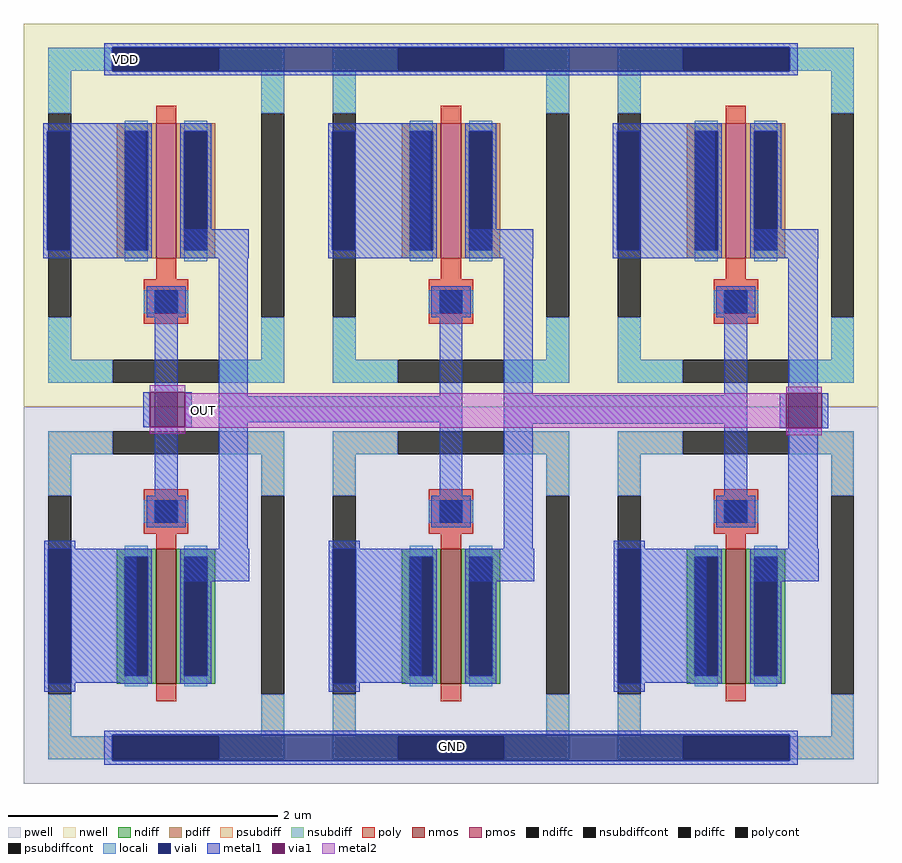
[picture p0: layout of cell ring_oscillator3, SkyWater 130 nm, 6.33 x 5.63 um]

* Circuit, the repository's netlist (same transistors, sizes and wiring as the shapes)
** sch_path: /home/deboradmk/iinverter/ring_oscillator3.sch
.subckt ring_oscillator3 vdd out gnd
*.PININFO vdd:B out:O gnd:B
x1 vdd net1 net2 gnd iinverter
x2 vdd net2 out gnd iinverter
x3 vdd out net1 gnd iinverter
.ends

* expanding   symbol:  iinverter.sym # of pins=4
** sym_path: /home/deboradmk/iinverter/iinverter.sym
** sch_path: /home/deboradmk/iinverter/iinverter.sch
.subckt iinverter vvdd in out vgnd
*.PININFO vvdd:I in:I vgnd:I out:O
XM3 out in vgnd vgnd sky130_fd_pr__nfet_01v8 L=0.15 W=1 nf=1 m=1
XM2 out in vvdd vvdd sky130_fd_pr__pfet_01v8 L=0.15 W=1 nf=1 m=1
.ends

.end

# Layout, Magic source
magic
tech sky130A
magscale 1 2
<< viali >>
rect 131 1055 1135 1091
rect 131 34 1135 72
<< metal1 >>
rect 119 1091 1147 1097
rect 119 1055 131 1091
rect 1135 1055 1147 1091
rect 119 1049 1147 1055
rect 177 528 187 580
rect 239 528 249 580
rect 314 535 637 574
rect 728 533 1056 575
rect 1120 526 1130 578
rect 1182 526 1192 578
rect 119 72 1147 78
rect 119 34 131 72
rect 1135 34 1147 72
rect 119 28 1147 34
<< via1 >>
rect 187 528 239 580
rect 1130 526 1182 578
<< metal2 >>
rect 187 580 239 590
rect 1130 578 1182 588
rect 239 528 1130 578
rect 187 527 1130 528
rect 187 518 239 527
rect 1130 516 1182 526
use iinverter  x1
transform 1 0 53 0 1 -9
box -53 9 369 1135
use iinverter  x2
transform 1 0 475 0 1 -9
box -53 9 369 1135
use iinverter  x3
transform 1 0 897 0 1 -9
box -53 9 369 1135
<< labels >>
flabel metal2 267 553 267 553 0 FreeSans 320 0 0 0 OUT
port 2 nsew
flabel viali 635 55 635 55 0 FreeSans 320 0 0 0 GND
port 4 nsew
flabel viali 151 1072 151 1072 0 FreeSans 320 0 0 0 VDD
port 6 nsew
<< end >>

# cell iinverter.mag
magic
tech sky130A
magscale 1 2
<< viali >>
rect -18 799 16 975
rect -17 157 17 357
<< metal1 >>
rect -24 975 127 987
rect -24 799 -18 975
rect 16 799 127 975
rect -24 787 127 799
rect 181 787 280 830
rect 141 395 175 740
rect -23 357 23 369
rect 236 357 279 787
rect -23 157 -17 357
rect 17 158 114 357
rect 181 309 281 357
rect 17 157 23 158
rect -23 145 23 157
use sky130_fd_pr__nfet_01v8_64Z3AY  XM1
transform 1 0 158 0 1 288
box -211 -279 211 279
use sky130_fd_pr__pfet_01v8_LGS3BL  XM2
transform 1 0 158 0 1 851
box -211 -284 211 284
<< labels >>
flabel metal1 45 880 49 880 0 FreeSans 160 0 0 0 VVDD
port 0 nsew
flabel metal1 45 261 49 261 0 FreeSans 160 0 0 0 VGND
port 1 nsew
flabel metal1 156 561 160 561 0 FreeSans 160 0 0 0 IN
port 2 nsew
flabel metal1 260 558 264 558 0 FreeSans 160 0 0 0 OUT
port 3 nsew
<< end >>

# cell sky130_fd_pr__nfet_01v8_64Z3AY: kit device sky130_fd_pr__nfet_01v8, w 1.0 l 0.15 m 1 nf 1 diffcov 100 polycov 100 guard 1 glc 1 grc 1 gtc 1 gbc 1 tbcov 100 rlcov 100 topc 1 botc 0 poverlap 0 doverlap 1 lmin 0.15 wmin 0.42 compatible {sky130_fd_pr__nfet_01v8 sky130_fd_pr__nfet_01v8_lvt sky130_fd_bs_flash__special_sonosfet_star sky130_fd_pr__nfet_g5v0d10v5 sky130_fd_pr__nfet_05v0_nvt sky130_fd_pr__nfet_03v3_nvt} full_metal 1 viasrc 100 viadrn 100 viagate 100 viagb 0 viagr 0 viagl 0 viagt 0

# cell sky130_fd_pr__pfet_01v8_LGS3BL: kit device sky130_fd_pr__pfet_01v8, w 1.0 l 0.15 m 1 nf 1 diffcov 100 polycov 100 guard 1 glc 1 grc 1 gtc 1 gbc 1 tbcov 100 rlcov 100 topc 0 botc 1 poverlap 0 doverlap 1 lmin 0.15 wmin 0.42 compatible {sky130_fd_pr__pfet_01v8 sky130_fd_pr__pfet_01v8_lvt sky130_fd_pr__pfet_01v8_hvt sky130_fd_pr__pfet_g5v0d10v5} full_metal 1 viasrc 100 viadrn 100 viagate 100 viagb 0 viagr 0 viagl 0 viagt 0
